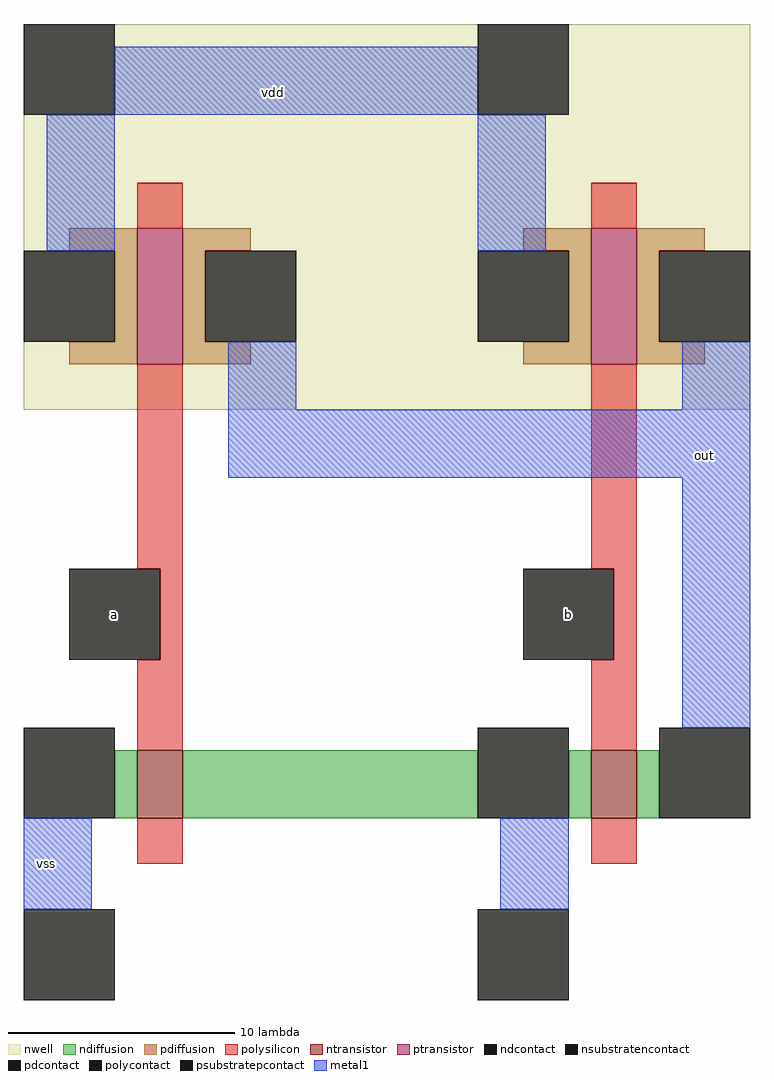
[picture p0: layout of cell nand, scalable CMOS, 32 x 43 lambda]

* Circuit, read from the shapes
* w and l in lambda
.subckt nand a b out vdd vss
M1 vss a vss vss nfet w=3 l=2
M2 out b vss vss nfet w=3 l=2
M3 out a vdd vdd pfet w=6 l=2
M4 out b vdd vdd pfet w=6 l=2
.ends

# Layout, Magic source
magic
tech scmos
<< nwell >>
rect -12 0 20 17
<< polysilicon >>
rect -7 8 -5 10
rect 13 8 15 10
rect -7 -7 -5 2
rect 13 -7 15 2
rect -6 -11 -5 -7
rect 14 -11 15 -7
rect -7 -15 -5 -11
rect 13 -15 15 -11
rect -7 -20 -5 -18
rect 13 -20 15 -18
<< ndiffusion >>
rect -8 -18 -7 -15
rect -5 -18 8 -15
rect 12 -18 13 -15
rect 15 -18 16 -15
<< pdiffusion >>
rect -10 7 -7 8
rect -8 3 -7 7
rect -10 2 -7 3
rect -5 7 -2 8
rect 10 7 13 8
rect -5 3 -4 7
rect 12 3 13 7
rect -5 2 -2 3
rect 10 2 13 3
rect 15 7 18 8
rect 15 3 16 7
rect 15 2 18 3
<< metal1 >>
rect -8 13 8 16
rect -11 7 -8 13
rect 8 7 11 13
rect -3 0 0 3
rect 17 0 20 3
rect -3 -3 20 0
rect 17 -14 20 -3
rect -12 -22 -9 -18
rect 9 -22 12 -18
<< ntransistor >>
rect -7 -18 -5 -15
rect 13 -18 15 -15
<< ptransistor >>
rect -7 2 -5 8
rect 13 2 15 8
<< polycontact >>
rect -10 -11 -6 -7
rect 10 -11 14 -7
<< ndcontact >>
rect -12 -18 -8 -14
rect 8 -18 12 -14
rect 16 -18 20 -14
<< pdcontact >>
rect -12 3 -8 7
rect -4 3 0 7
rect 8 3 12 7
rect 16 3 20 7
<< psubstratepcontact >>
rect -12 -26 -8 -22
rect 8 -26 12 -22
<< nsubstratencontact >>
rect -12 13 -8 17
rect 8 13 12 17
<< labels >>
rlabel metal1 -1 14 -1 14 1 vdd
rlabel metal1 18 -2 18 -2 3 out
rlabel metal1 -11 -20 -11 -20 3 vss
rlabel polycontact -8 -9 -8 -9 1 a
rlabel polycontact 12 -9 12 -9 1 b
<< end >>
